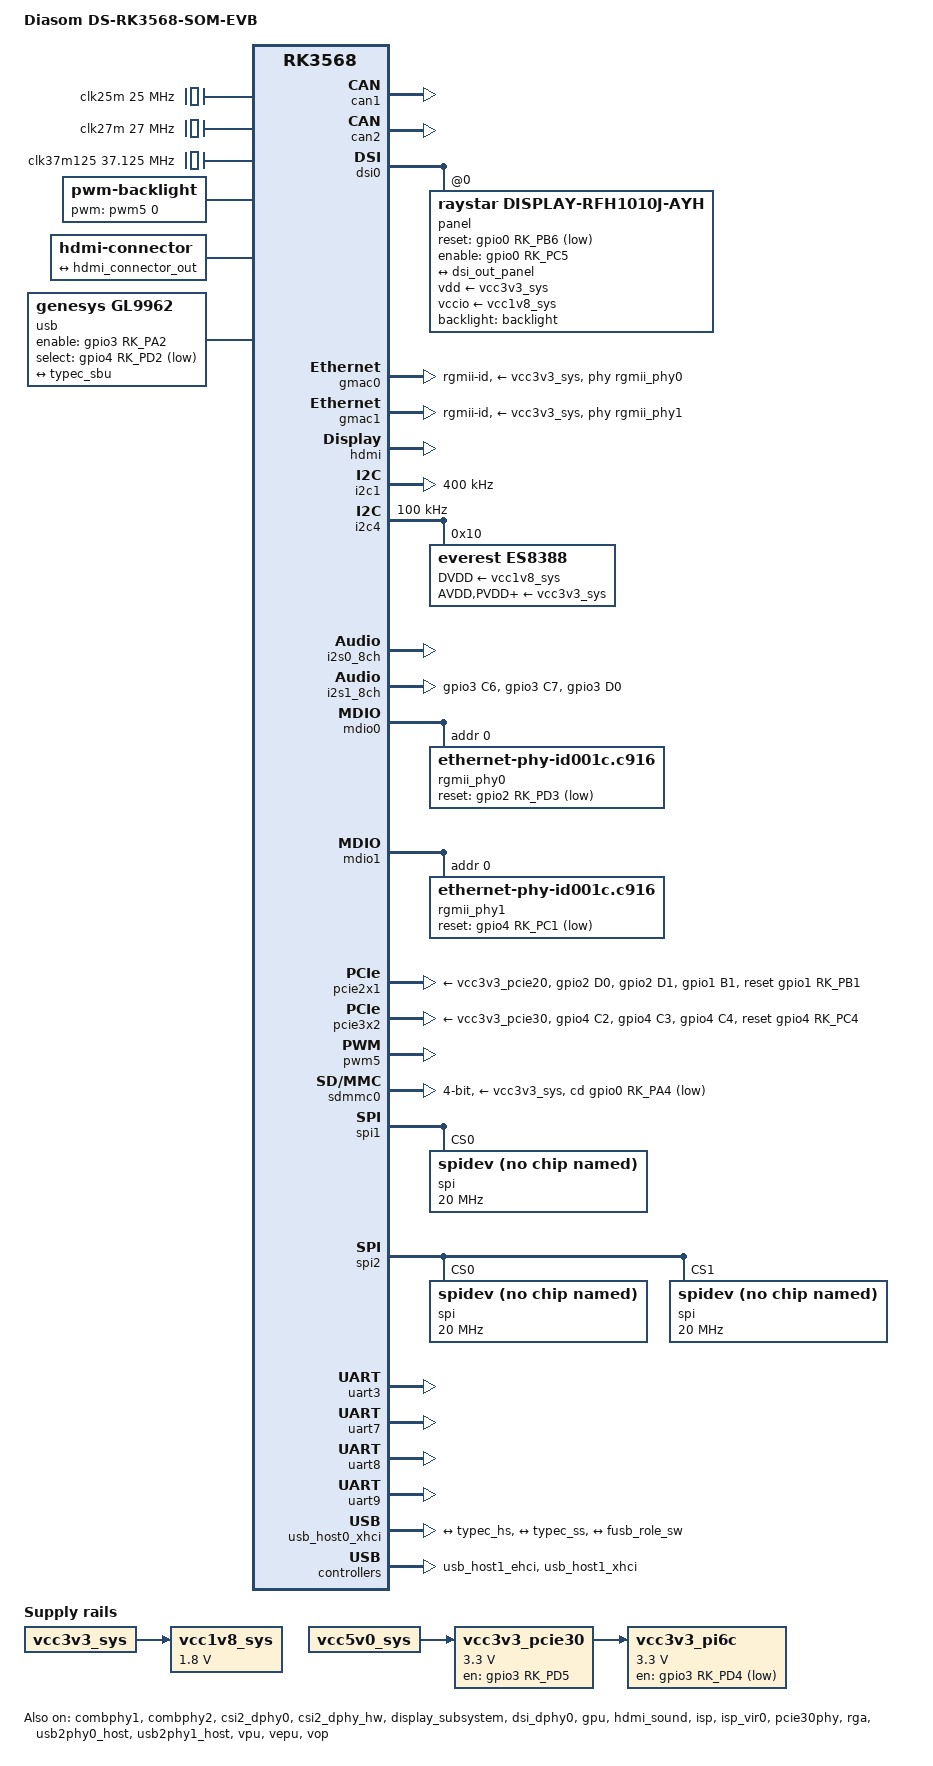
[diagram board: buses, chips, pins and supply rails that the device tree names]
/* SPDX-License-Identifier: GPL-2.0+ */
/* SPDX-FileCopyrightText: Alexander Shiyan <shc_work@mail.ru> */

/dts-v1/;

#include <dt-bindings/soc/rockchip,vop2.h>
#include <dt-bindings/usb/pd.h>

#include "rk3568-diasom-som.dtsi"

/ {
	model = "Diasom DS-RK3568-SOM-EVB";
	compatible = "diasom,ds-rk3568-som-evb",
		     "diasom,ds-rk3568-som",
		     "rockchip,rk3568";

	aliases {
		camera1 = &imx335_i2c4;
		camera2 = &imx335_i2c7;
		camera4 = &imx415_i2c4;
		camera5 = &imx415_i2c7;
		camera6 = &imx327;
		camera7 = &ar0234;
		camera8 = &imx662;
		can0 = &can1;
		can1 = &can2;
		ethernet0 = &gmac0;
		ethernet1 = &gmac1;
		i2c6 = &i2c6;
		i2c7 = &i2c7;
		i2c8 = &i2c8;
		i2c9 = &i2c9;
		mmc1 = &sdmmc0;
		sound0 = &sound0;
	};

	chosen {
		environment-sd {
			compatible = "barebox,environment";
			device-path = &sdmmc0, "partname:env";
			status = "disabled";
		};
	};

	clk25m: clk25m {
		compatible = "fixed-clock";
		clock-frequency = <25000000>;
		#clock-cells = <0>;
	};

	clk27m: clk27m {
		compatible = "fixed-clock";
		clock-frequency = <27000000>;
		#clock-cells = <0>;
	};

	clk37m125: clk37m125 {
		compatible = "fixed-clock";
		clock-frequency = <37125000>;
		#clock-cells = <0>;
	};

	backlight: backlight {
		compatible = "pwm-backlight";
		pwms = <&pwm5 0 25000 0>;
		brightness-levels = <0 255>;
		num-interpolated-steps = <256>;
		default-brightness-level = <240>;
	};

	hdmi-connector {
		compatible = "hdmi-connector";
		label = "HDMI";
		type = "a";

		port {
			hdmi_connector_in: endpoint {
				remote-endpoint = <&hdmi_connector_out>;
			};
		};
	};

	lvds: lvds {
		compatible = "rockchip,rk3568-lvds";
		phys = <&dsi_dphy0>;
		phy-names = "dphy";
		power-domains = <&power RK3568_PD_VO>;
		rockchip,grf = <&grf>;
		rockchip,output = "lvds";
		status = "disabled";

		ports {
			#address-cells = <1>;
			#size-cells = <0>;

			port@0 {
				reg = <0>;

				lvds_in_vp2: endpoint {
					remote-endpoint = <&vp2_out_lvds>;
				};
			};

			port@1 {
				reg = <1>;

				lvds_out_panel: endpoint {
					remote-endpoint = <&lvds_in_panel>;
				};
			};
		};
	};

	lvds_panel: panel {
		pinctrl-names = "default";
		pinctrl-0 = <&lvds_pins>;
		compatible = "panel-lvds";
		backlight = <&backlight>;
		data-mapping = "jeida-24";
		enable-gpios = <&gpio0 RK_PC5 GPIO_ACTIVE_HIGH>;
		width-mm = <210>;
		height-mm = <158>;
		status = "disabled";

		panel-timing {
			/* Raystar RFM1040G-AWW-LNN 1024x768@60 */
			clock-frequency = <65000000>;
			hactive = <1024>;
			vactive = <768>;
			hsync-len = <4>;
			hfront-porch = <100>;
			hback-porch = <216>;
			vfront-porch = <30>;
			vback-porch = <7>;
			vsync-len = <1>;
			hsync-active = <0>;
			vsync-active = <0>;
			de-active = <0>;
			pixelclk-active = <0>;
		};

		port {
			lvds_in_panel: endpoint {
				remote-endpoint = <&lvds_out_panel>;
			};
		};
	};

	sound0: es8388-sound {
		compatible = "simple-audio-card";
		simple-audio-card,name = "ES8388";
		simple-audio-card,format = "i2s";
		simple-audio-card,bitclock-master = <&es8388_master>;
		simple-audio-card,frame-master = <&es8388_master>;

		es8388_master: simple-audio-card,cpu {
			sound-dai = <&i2s1_8ch>;
		};

		simple-audio-card,codec {
			sound-dai = <&es8388>;
		};
	};

	usb {
		pinctrl-names = "default";
		pinctrl-0 = <&usbmux_pins>;
		compatible = "genesys,gl9962", "gpio-sbu-mux";
		enable-gpios = <&gpio3 RK_PA2 GPIO_ACTIVE_HIGH>;
		select-gpios = <&gpio4 RK_PD2 GPIO_ACTIVE_LOW>;
		orientation-switch;

		port {
			/* Orientation Switch */
			gpio_sbu: endpoint {
				remote-endpoint = <&typec_sbu>;
			};
		};
	};

	vcc1v8_sys: vcc1v8-sys-regulator {
		compatible = "regulator-fixed";
		regulator-name = "1v8_sys";
		regulator-always-on;
		regulator-boot-on;
		regulator-min-microvolt = <1800000>;
		regulator-max-microvolt = <1800000>;
		vin-supply = <&vcc3v3_sys>;
	};

	vcc3v3_pcie20: vcc3v3-pcie20-pwr-regulator {
		compatible = "regulator-fixed";
		enable-active-high;
		regulator-name = "3v3_pcie20";
		regulator-min-microvolt = <3300000>;
		regulator-max-microvolt = <3300000>;
		startup-delay-us = <20000>;
		vin-supply = <&vcc3v3_sys>;
		status = "disabled";
	};

	vcc3v3_pcie30: vcc3v3-pcie30-regulator {
		pinctrl-names = "default";
		pinctrl-0 = <&pcie30_pwr_pins>;
		compatible = "regulator-fixed";
		enable-active-high;
		gpio = <&gpio3 RK_PD5 GPIO_ACTIVE_HIGH>;
		regulator-name = "3v3_pcie30";
		regulator-min-microvolt = <3300000>;
		regulator-max-microvolt = <3300000>;
		startup-delay-us = <20000>;
		vin-supply = <&vcc5v0_sys>;
	};

	vcc3v3_pi6c: vcc3v3-pi6c-regulator {
		pinctrl-names = "default";
		pinctrl-0 = <&pcie30_oe_pins>;
		compatible = "regulator-fixed";
		/* Fixup for PCI-e in the bootloader */
		regulator-always-on;
		regulator-boot-on;
		gpio = <&gpio3 RK_PD4 GPIO_ACTIVE_LOW>;
		regulator-name = "3v3_pi6c";
		regulator-min-microvolt = <3300000>;
		regulator-max-microvolt = <3300000>;
		startup-delay-us = <20000>;
		vin-supply = <&vcc3v3_pcie30>;
	};

	vcc5v0_usb3_host1: vcc5v0-usb3-host1-regulator {
		compatible = "regulator-fixed";
		enable-active-high;
		regulator-name = "vcc5v0_usb3_host1";
		regulator-min-microvolt = <5000000>;
		regulator-max-microvolt = <5000000>;
		startup-delay-us = <20000>;
		vin-supply = <&vcc5v0_sys>;
		status = "disabled";
	};

	vcc5v0_usb3_otg0: vcc5v0-usb3-otg0-regulator {
		compatible = "regulator-fixed";
		regulator-name = "vcc5v0_usb3_otg0";
		regulator-min-microvolt = <5000000>;
		regulator-max-microvolt = <5000000>;
		startup-delay-us = <20000>;
		vin-supply = <&vcc5v0_sys>;
		status = "disabled";
	};

	vcc_cam0: vcc-cam0-regulator {
		pinctrl-names = "default";
		pinctrl-0 = <&csi0_pwr>;
		compatible = "regulator-fixed";
		/* Used by RAW probe for cameras connected via I2C */
		regulator-boot-on;
		enable-active-high;
		gpio = <&gpio2 RK_PD2 GPIO_ACTIVE_HIGH>;
		regulator-name = "vcc_cam0";
		startup-delay-us = <250000>;
		status = "disabled";
	};

	vcc_cam1: vcc-cam1-regulator {
		compatible = "regulator-fixed";
		enable-active-high;
		regulator-name = "vcc_cam1";
		startup-delay-us = <250000>;
		status = "disabled";
	};
};

&can1 {
	status = "okay";
};

&can2 {
	status = "okay";
};

&combphy1 {
	/* USB3.0 HOST1 */
	status = "okay";
};

&combphy2 {
	/* PCI-E 2.0 */
	phy-supply = <&vcc3v3_pcie20>;
	status = "okay";
};

&csi2_dphy0 {
	status = "okay";
};

&csi2_in {
	ar0234_in: endpoint@0 {
		reg = <0>;
		data-lanes = <1 2 3 4>;
		remote-endpoint = <&ar0234_out>;
	};

	imx327_in: endpoint@1 {
		reg = <1>;
		data-lanes = <1 2 3 4>;
		remote-endpoint = <&imx327_out>;
	};

	imx335_i2c4_in: endpoint@2 {
		reg = <2>;
		data-lanes = <1 2 3 4>;
		remote-endpoint = <&imx335_i2c4_out>;
	};

	imx335_i2c7_in: endpoint@3 {
		reg = <3>;
		data-lanes = <1 2>;
		remote-endpoint = <&imx335_i2c7_out>;
	};

	imx415_i2c4_in: endpoint@4 {
		reg = <4>;
		data-lanes = <1 2 3 4>;
		remote-endpoint = <&imx415_i2c4_out>;
	};

	imx415_i2c7_in: endpoint@5 {
		reg = <5>;
		data-lanes = <1 2>;
		remote-endpoint = <&imx415_i2c7_out>;
	};

	imx662_in: endpoint@6 {
		reg = <6>;
		data-lanes = <1 2 3 4>;
		remote-endpoint = <&imx662_out>;
	};
};

&csi2_dphy_hw {
	status = "okay";
};

&display_subsystem {
	status = "okay";
};

&dsi0 {
	#address-cells = <1>;
	#size-cells = <0>;
	status = "okay";

	panel@0 {
		pinctrl-names = "default";
		pinctrl-0 = <&dsi_pins>;
		compatible = "raystar,display-rfh1010j-ayh";
		reg = <0>;
		backlight = <&backlight>;
		reset-gpios = <&gpio0 RK_PB6 GPIO_ACTIVE_LOW>;
		enable-gpios = <&gpio0 RK_PC5 GPIO_ACTIVE_HIGH>;
		vdd-supply = <&vcc3v3_sys>;
		vccio-supply = <&vcc1v8_sys>;

		port {
			dsi_in_panel: endpoint {
				remote-endpoint = <&dsi_out_panel>;
			};
		};
	};
};

&dsi_dphy0 {
	status = "okay";
};

&dsi0_in {
	dsi0_in_vp1: endpoint {
		remote-endpoint = <&vp1_out_dsi0>;
	};
};

&dsi0_out {
	dsi_out_panel: endpoint {
		remote-endpoint = <&dsi_in_panel>;
	};
};

&gmac0 {
	assigned-clocks = <&cru SCLK_GMAC0_RX_TX>, <&cru SCLK_GMAC0>;
	assigned-clock-parents = <&cru SCLK_GMAC0_RGMII_SPEED>;
	assigned-clock-rates = <0>, <125000000>;
	pinctrl-names = "default";
	pinctrl-0 = <
		&gmac0_miim &gmac0_tx_bus2 &gmac0_rx_bus2
		&gmac0_rgmii_clk &gmac0_rgmii_bus
	>;
	clock_in_out = "output";
	phy-handle = <&rgmii_phy0>;
	phy-mode = "rgmii-id";
	phy-supply = <&vcc3v3_sys>;
};

&gmac1 {
	assigned-clocks = <&cru SCLK_GMAC1_RX_TX>, <&cru SCLK_GMAC1>;
	assigned-clock-parents = <&cru SCLK_GMAC1_RGMII_SPEED>;
	assigned-clock-rates = <0>, <125000000>;
	pinctrl-names = "default";
	pinctrl-0 = <
		&gmac1m1_miim &gmac1m1_tx_bus2 &gmac1m1_rx_bus2
		&gmac1m1_rgmii_clk &gmac1m1_rgmii_bus
	>;
	clock_in_out = "output";
	phy-handle = <&rgmii_phy1>;
	phy-mode = "rgmii-id";
	phy-supply = <&vcc3v3_sys>;
};

&gpu {
	status = "okay";
};

&hdmi {
	status = "okay";
};

&hdmi_in {
	hdmi_in_vp0: endpoint {
		remote-endpoint = <&vp0_out_hdmi>;
	};
};

&hdmi_out {
	hdmi_connector_out: endpoint {
		remote-endpoint = <&hdmi_connector_in>;
	};
};

&hdmi_sound {
	status = "okay";
};

&i2c1 {
	/* FUSB302 is not detected at 1MHz, so lets reduce frequency to 400KHz */
	clock-frequency = <400000>;
	status = "okay";

	fusb: usb@22 {
		compatible = "fcs,fusb302";
		reg = <0x22>;
		vbus-supply = <&vcc5v0_usb3_otg0>;
		status = "disabled";

		connector {
			compatible = "usb-c-connector";
			label = "USB-C";
			data-role = "dual";
			power-role = "dual";
			try-power-role = "source";
			pd-revision = /bits/ 8 <0x2 0x0 0x1 0x2>;
			op-sink-microwatt = <10>;
			sink-pdos = <PDO_FIXED(5000, 10, PDO_FIXED_USB_COMM | PDO_FIXED_DATA_SWAP)>;
			source-pdos = <PDO_FIXED(5000, 2000, PDO_FIXED_USB_COMM | PDO_FIXED_DATA_SWAP)>;

			ports {
				#address-cells = <1>;
				#size-cells = <0>;

				port@0 {
					/* HS */
					reg = <0>;

					typec_hs: endpoint {
						remote-endpoint = <&usb_host0_xhci_hs>;
					};
				};

				port@1 {
					/* SS */
					reg = <1>;

					typec_ss: endpoint {
						remote-endpoint = <&usb_host0_xhci_ss>;
					};
				};

				port@2 {
					/* Orientation Switch */
					reg = <2>;

					typec_sbu: endpoint {
						remote-endpoint = <&gpio_sbu>;
					};
				};
			};
		};

		port {
			/* Role Switch */
			fusb_role_sw: endpoint {
				remote-endpoint = <&usb_host0_xhci_role_sw>;
			};
		};
	};
};

&i2c4 {
	clock-frequency = <100000>;
	status = "okay";

	es8388: codec@10 {
		compatible = "everest,es8388";
		assigned-clocks = <&cru I2S1_MCLKOUT_TX>;
		assigned-clock-rates = <12288000>;
		assigned-clock-parents = <&cru CLK_I2S1_8CH_TX>;
		reg = <0x10>;
		clocks = <&cru I2S1_MCLKOUT_TX>;
		DVDD-supply = <&vcc1v8_sys>;
		AVDD-supply = <&vcc3v3_sys>;
		PVDD-supply = <&vcc3v3_sys>;
		HPVDD-supply = <&vcc3v3_sys>;

		#sound-dai-cells = <0>;
	};

	ar0234: camera@18 {
		compatible = "onnn,ar0234cs";
		reg = <0x18>;
		clocks = <&clk27m>;
		power-domains = <&power RK3568_PD_VI>;
		vaa-supply = <&vcc_cam0>;
		vdd-supply = <&vcc_cam0>;
		vddio-supply = <&vcc_cam0>;
		status = "disabled";

		port {
			ar0234_out: endpoint {
				data-lanes = <1 2 3 4>;
				remote-endpoint = <&ar0234_in>;
				link-frequencies = /bits/ 64 <360000000 450000000>;
			};
		};
	};

	imx327: camera-0@1a {
		compatible = "sony,imx327lqr";
		reg = <0x1a>;
		clocks = <&clk37m125>;
		clock-names = "xclk";
		power-domains = <&power RK3568_PD_VI>;
		vdda-supply = <&vcc_cam0>;
		vddd-supply = <&vcc_cam0>;
		vdddo-supply = <&vcc_cam0>;
		status = "disabled";

		port {
			imx327_out: endpoint {
				data-lanes = <1 2 3 4>;
				remote-endpoint = <&imx327_in>;
				link-frequencies = /bits/ 64 <222750000 148500000>;
			};
		};
	};

	imx335_i2c4: camera-1@1a {
		compatible = "sony,imx335";
		reg = <0x1a>;
		clocks = <&xin24m>;
		power-domains = <&power RK3568_PD_VI>;
		avdd-supply = <&vcc_cam0>;
		dvdd-supply = <&vcc_cam0>;
		ovdd-supply = <&vcc_cam0>;
		status = "disabled";

		port {
			imx335_i2c4_out: endpoint {
				data-lanes = <1 2 3 4>;
				remote-endpoint = <&imx335_i2c4_in>;
				link-frequencies = /bits/ 64 <594000000>;
			};
		};
	};

	imx415_i2c4: camera-2@1a {
		compatible = "sony,imx415";
		reg = <0x1a>;
		clocks = <&clk37m125>;
		clock-names = "inck";
		power-domains = <&power RK3568_PD_VI>;
		avdd-supply = <&vcc_cam0>;
		dvdd-supply = <&vcc_cam0>;
		ovdd-supply = <&vcc_cam0>;
		status = "disabled";

		port {
			imx415_i2c4_out: endpoint {
				data-lanes = <1 2 3 4>;
				remote-endpoint = <&imx415_i2c4_in>;
				link-frequencies = /bits/ 64 <445500000>;
			};
		};
	};

	imx662: camera-3@1a {
		compatible = "sony,imx662aaqr";
		reg = <0x1a>;
		clocks = <&xin24m>;
		power-domains = <&power RK3568_PD_VI>;
		avdd-supply = <&vcc_cam0>;
		dvdd-supply = <&vcc_cam0>;
		ovdd-supply = <&vcc_cam0>;
		status = "disabled";

		port {
			imx662_out: endpoint {
				data-lanes = <1 2 3 4>;
				remote-endpoint = <&imx662_in>;
				link-frequencies = /bits/ 64 <360000000>;
			};
		};
	};

	i2c_mux: i2c-mux@70 {
		compatible = "nxp,pca9546";
		reg = <0x70>;
		i2c-mux-idle-disconnect;
		vdd-supply = <&vcc3v3_sys>;
		#address-cells = <1>;
		#size-cells = <0>;
		status = "disabled";

		i2c6: i2c@0 {
			reg = <0>;
			#address-cells = <1>;
			#size-cells = <0>;
		};

		i2c7: i2c@1 {
			reg = <1>;
			#address-cells = <1>;
			#size-cells = <0>;

			imx335_i2c7: camera-0@1a {
				compatible = "sony,imx335";
				reg = <0x1a>;
				clocks = <&xin24m>;
				power-domains = <&power RK3568_PD_VI>;
				avdd-supply = <&vcc_cam0>;
				dvdd-supply = <&vcc_cam0>;
				ovdd-supply = <&vcc_cam0>;
				status = "disabled";

				port {
					imx335_i2c7_out: endpoint {
						data-lanes = <1 2>;
						remote-endpoint = <&imx335_i2c7_in>;
						link-frequencies = /bits/ 64 <594000000>;
					};
				};
			};

			imx415_i2c7: camera-1@1a {
				compatible = "sony,imx415";
				reg = <0x1a>;
				clocks = <&clk37m125>;
				clock-names = "inck";
				power-domains = <&power RK3568_PD_VI>;
				avdd-supply = <&vcc_cam0>;
				dvdd-supply = <&vcc_cam0>;
				ovdd-supply = <&vcc_cam0>;
				status = "disabled";

				port {
					imx415_i2c7_out: endpoint {
						data-lanes = <1 2>;
						remote-endpoint = <&imx415_i2c7_in>;
						link-frequencies = /bits/ 64 <445500000>;
					};
				};
			};
		};

		i2c8: i2c@2 {
			reg = <2>;
			#address-cells = <1>;
			#size-cells = <0>;
		};

		i2c9: i2c@3 {
			reg = <3>;
			#address-cells = <1>;
			#size-cells = <0>;
		};
	};
};

&i2s0_8ch {
	/* HDMI Sound */
	status = "okay";
};

&i2s1_8ch {
	/* I2S Sound */
	pinctrl-0 = <
		&i2s1_pins
		&i2s1m1_sdo0		/* I2S1_SDO0 */
		&i2s1m1_sdi0		/* I2S1_SDI0 */
	>;
	rockchip,trcm-sync-tx-only;
	status = "okay";
};

&isp {
	status = "okay";
};

&isp_mmu {
	status = "okay";
};

&isp_vir0 {
	status = "okay";
};

&mdio0 {
	rgmii_phy0: phy@0 {
		/* RTL8211F */
		pinctrl-names = "default";
		pinctrl-0 = <&gmac0_rst_pins>;
		compatible = "ethernet-phy-id001c.c916";
		reg = <0x0>;
		reset-assert-us = <20000>;
		reset-deassert-us = <100000>;
		reset-gpios = <&gpio2 RK_PD3 GPIO_ACTIVE_LOW>;
	};
};

&mdio1 {
	rgmii_phy1: phy@0 {
		/* RTL8211F */
		pinctrl-names = "default";
		pinctrl-0 = <&gmac1_rst_pins>;
		compatible = "ethernet-phy-id001c.c916";
		reg = <0x0>;
		reset-assert-us = <20000>;
		reset-deassert-us = <100000>;
		reset-gpios = <&gpio4 RK_PC1 GPIO_ACTIVE_LOW>;
	};
};

&pcie2x1 {
	pinctrl-names = "default";
	pinctrl-0 = <&pcie20_pins>;
	reset-gpios = <&gpio1 RK_PB1 GPIO_ACTIVE_HIGH>;
	vpcie3v3-supply = <&vcc3v3_pcie20>;
	supports-clkreq;
	status = "okay";
};

&pcie30phy {
	data-lanes = <1 1>;
	phy-supply = <&vcc3v3_pcie30>;
	status = "okay";
};

&pcie3x2 {
	pinctrl-names = "default";
	pinctrl-0 = <&pcie30_pins>;
	reset-gpios = <&gpio4 RK_PC4 GPIO_ACTIVE_HIGH>;
	vpcie3v3-supply = <&vcc3v3_pcie30>;
	supports-clkreq;
	status = "okay";
};

&pwm5 {
	status = "okay";
};

&rga {
	status = "okay";
};

&sdmmc0 {
	pinctrl-names = "default";
	pinctrl-0 = <&sdmmc0_bus4 &sdmmc0_clk &sdmmc0_cmd &sdmmc0_det>;
	bus-width = <4>;
	disable-wp;
	cd-gpios = <&gpio0 RK_PA4 GPIO_ACTIVE_LOW>;
	vmmc-supply = <&vcc3v3_sys>;
	status = "okay";
};

&spi1 {
	pinctrl-0 = <&spi1m1_pins_hs &spi1m1_cs0_hs>;
	num-cs = <1>;
	status = "okay";

	spi@0 {
		compatible = "rohm,dh2228fv";
		reg = <0>;
		spi-max-frequency = <20000000>;
	};
};

&spi2 {
	pinctrl-0 = <&spi2m1_pins_hs &spi2m1_cs0_hs &spi2m1_cs1_hs>;
	num-cs = <2>;
	status = "okay";

	spi@0 {
		compatible = "rohm,dh2228fv";
		reg = <0>;
		spi-max-frequency = <20000000>;
	};

	spi@1 {
		compatible = "rohm,dh2228fv";
		reg = <1>;
		spi-max-frequency = <20000000>;
	};
};

&uart3 {
	pinctrl-0 = <&uart3m1_xfer &uart3m0_ctsn &uart3m0_rtsn>;
	status = "okay";
};

&uart7 {
	pinctrl-0 = <&uart7m1_xfer &uart7m0_ctsn &uart7m0_rtsn>;
	status = "okay";
};

&uart8 {
	pinctrl-0 = <&uart8m0_xfer &uart8m0_ctsn &uart8m0_rtsn>;
	status = "okay";
};

&uart9 {
	pinctrl-0 = <&uart9m1_xfer>;
	status = "okay";
};

&usb_host0_xhci {
	usb-role-switch;
	role-switch-default-mode = "peripheral";

	ports {
		#address-cells = <1>;
		#size-cells = <0>;

		port@0 {
			/* HS */
			reg = <0>;

			usb_host0_xhci_hs: endpoint {
				remote-endpoint = <&typec_hs>;
			};
		};

		port@1 {
			/* SS */
			reg = <1>;

			usb_host0_xhci_ss: endpoint {
				remote-endpoint = <&typec_ss>;
			};
		};

		port@2 {
			/* Role Switch */
			reg = <2>;

			usb_host0_xhci_role_sw: endpoint {
				remote-endpoint = <&fusb_role_sw>;
			};
		};
	};
};

&usb_host1_ehci {
	status = "okay";
};

&usb_host1_xhci {
	status = "okay";
};

&usb2phy0_host {
	phy-supply = <&vcc5v0_usb3_host1>;
	status = "okay";
};

&usb2phy1_host {
	status = "okay";
};

&vpu {
	status = "okay";
};

&vdpu_mmu {
	status = "okay";
};

&vepu {
	status = "okay";
};

&vepu_mmu {
	status = "okay";
};

&vop {
	status = "okay";
};

&vop_mmu {
	status = "okay";
};

&vp0 {
	vp0_out_hdmi: endpoint@ROCKCHIP_VOP2_EP_HDMI0 {
		reg = <ROCKCHIP_VOP2_EP_HDMI0>;
		remote-endpoint = <&hdmi_in_vp0>;
	};
};

&vp1 {
	vp1_out_dsi0: endpoint@ROCKCHIP_VOP2_EP_MIPI0 {
		reg = <ROCKCHIP_VOP2_EP_MIPI0>;
		remote-endpoint = <&dsi0_in_vp1>;
	};
};

&vp2 {
	status = "disabled";

	vp2_out_lvds: endpoint@ROCKCHIP_VOP2_EP_LVDS0 {
		reg = <ROCKCHIP_VOP2_EP_LVDS0>;
		remote-endpoint = <&lvds_in_vp2>;
	};
};

&pinctrl {
	pinctrl-names = "default";
	pinctrl-0 = <&board_pins>;

	board {
		board_pins: board-pins {
			rockchip,pins =
				<1 RK_PA4 RK_FUNC_GPIO &pcfg_pull_up>,		/* GPIO_0 */
				<1 RK_PA6 RK_FUNC_GPIO &pcfg_pull_up>,		/* GPIO_1 */
				<1 RK_PA7 RK_FUNC_GPIO &pcfg_pull_up>,		/* GPIO_2 */
				<1 RK_PB0 RK_FUNC_GPIO &pcfg_pull_up>;		/* GPIO_3 */
		};
	};

	csi {
		csi0_pwr: csi0-pwr-pins {
			rockchip,pins =
				<2 RK_PD2 RK_FUNC_GPIO &pcfg_pull_up>;		/* CSI_PWREN0 */
		};

		csi0_rst: csi0-rst-pins {
			rockchip,pins =
				<3 RK_PB6 RK_FUNC_GPIO &pcfg_pull_up>;		/* CSI_RESET0# */
		};
	};

	dsi {
		dsi_pins: dsi-pins {
			rockchip,pins =
				<0 RK_PC5 RK_FUNC_GPIO &pcfg_pull_up>,		/* DSI_PWREN */
				<0 RK_PB6 RK_FUNC_GPIO &pcfg_pull_up>;		/* DSI_RESET# */
		};
	};

	i2s {
		i2s1_pins: i2s1-pins {
			rockchip,pins =
				<3 RK_PC6 4 &pcfg_pull_none_smt>,		/* I2S1_MCLK */
				<3 RK_PC7 4 &pcfg_pull_none_smt>,		/* I2S1_TX_SCLK */
				<3 RK_PD0 4 &pcfg_pull_none_smt>;		/* I2S1_TX_LRCK */
		};
	};

	lvds {
		lvds_pins: lvds-pins {
			rockchip,pins =
				<0 RK_PC5 RK_FUNC_GPIO &pcfg_pull_up>;		/* LVDS_PWREN */
		};
	};

	net {
		gmac0_rst_pins: gmac0-rst-pins {
			rockchip,pins =
				<2 RK_PD3 RK_FUNC_GPIO &pcfg_pull_none>;	/* GMAC0_RST */
		};

		gmac1_rst_pins: gmac1-rst-pins {
			rockchip,pins =
				<4 RK_PC1 RK_FUNC_GPIO &pcfg_pull_none>;	/* GMAC1_RST */
		};
	};

	pcie20 {
		pcie20_pins: pcie20-pins {
			rockchip,pins =
				<2 RK_PD0 4 &pcfg_pull_none>,			/* PCIE20_CLKREQn_M1 */
				<2 RK_PD1 4 &pcfg_pull_none>,			/* PCIE20_WAKEn_M1 */
				<1 RK_PB1 RK_FUNC_GPIO &pcfg_pull_none>;	/* PCIE20_PERST */
		};
	};

	pcie30 {
		pcie30_pins: pcie30-pins {
			rockchip,pins =
				<4 RK_PC2 4 &pcfg_pull_none>,			/* PCIE30X2_CLKREQn_M2 */
				<4 RK_PC3 4 &pcfg_pull_none>,			/* PCIE30X2_WAKEn_M2 */
				<4 RK_PC4 RK_FUNC_GPIO &pcfg_pull_up>;		/* PCIE30X2_PERSTn_M2 */
		};

		pcie30_oe_pins: pcie30-oe-pins {
			rockchip,pins =
				<3 RK_PD4 RK_FUNC_GPIO &pcfg_pull_none>;	/* PCIECLKIC_OE */
		};

		pcie30_pwr_pins: pcie30-pwr-pins {
			rockchip,pins =
				<3 RK_PD5 RK_FUNC_GPIO &pcfg_pull_none>;	/* PCIE30_PWREN */
		};
	};

	usbmux {
		usbmux_pins: usbmux-pins {
			rockchip,pins =
				<4 RK_PD2 RK_FUNC_GPIO &pcfg_pull_up>,		/* USB3_OTG0_SEL */
				<3 RK_PA2 RK_FUNC_GPIO &pcfg_pull_none>;	/* Unused */
		};
	};
};
